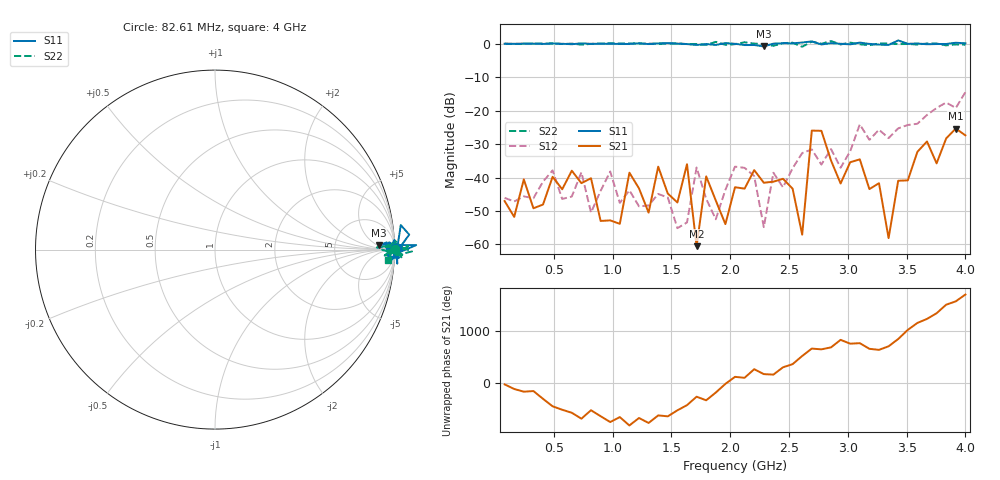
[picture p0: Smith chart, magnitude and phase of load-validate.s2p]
!Created with skrf (http://scikit-rf.org).
# GHz S DB R 50.0
!freq dBS11 angS11 dBS21 angS21 dBS12 angS12 dBS22 angS22
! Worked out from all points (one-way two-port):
!   49 points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, 82.61 MHz to 4 GHz, reference 50 ohm
!   highest |S21| = -25.35 dB at 3.918 GHz (marker M1); lowest = -60.5 dB at 1.715 GHz (marker M2)
!   lowest |S11| = -0.8 dB at 2.286 GHz (marker M3), VSWR 21.98, Z = 1e+03 + j310 ohm
!   |S11| at or under -10 dB: nowhere
!   |S22| runs from -0.9 to 0.8 dB; largest |S21 - S12| = 0.2
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0.08261224  0.02 0.6  -47.03 -29.7  -46.08 16.9  0.01 0.1
0.7355102  0.14 1.5  -41.69 22.3  -38.44 -32.2  -0.25 -0.7
1.061959  -0.05 -0.2  -53.85 53.2  -47.59 101.2  0.08 0.5
1.143571  -0.05 1.6  -38.56 -109.2  -43.83 -41.7  0.12 0.2
1.306796  -0.09 -0.7  -50.51 -60.9  -48.36 -112.1  0.05 1.9
1.388408  0.14 -2.0  -36.76 86.4  -44.92 144.2  -0.06 -0.0
1.551633  0.06 -0.9  -47.46 -174.5  -55.15 12.8  0.11 -0.7
1.633245  -0.09 -0.7  -36.02 -73.7  -53.44 80.1  -0.09 2.0
1.714857  -0.35 0.0  -60.54 90.6  -37.01 -74.4  -0.09 0.7
1.796469  -0.07 1.2  -39.66 20.7  -46.38 42.8  -0.34 1.4
1.959694  0.21 -2.7  -53.94 -19.5  -43.67 -137.3  -0.34 -1.1
2.041306  -0.00 1.1  -42.91 117.2  -36.75 -31.4  -0.12 0.1
2.286143  -0.79 1.6  -41.57 170.4  -54.84 -172.7  -0.08 -0.3
2.367755  0.04 1.7  -41.25 160.7  -38.56 146.1  -0.61 -0.1
2.612592  0.37 7.5  -57.09 163.6  -32.68 -127.0  -0.90 0.7
2.694204  0.71 4.4  -25.97 -52.4  -31.60 -57.7  0.64 1.1
2.775816  -0.20 -3.7  -26.03 -67.6  -36.12 -76.2  -0.00 -2.0
3.26549  -0.25 2.4  -41.70 -77.4  -25.70 9.2  0.10 0.1
3.347102  -0.35 1.5  -58.13 -8.2  -28.21 87.6  0.06 0.9
3.428714  0.99 1.3  -40.97 133.6  -25.29 -144.7  -0.10 -1.1
3.918388  0.31 -0.0  -25.35 147.4  -19.21 -116.6  -0.18 -0.6
4  0.15 0.6  -27.39 -80.6  -14.47 19.8  -0.28 -3.5
